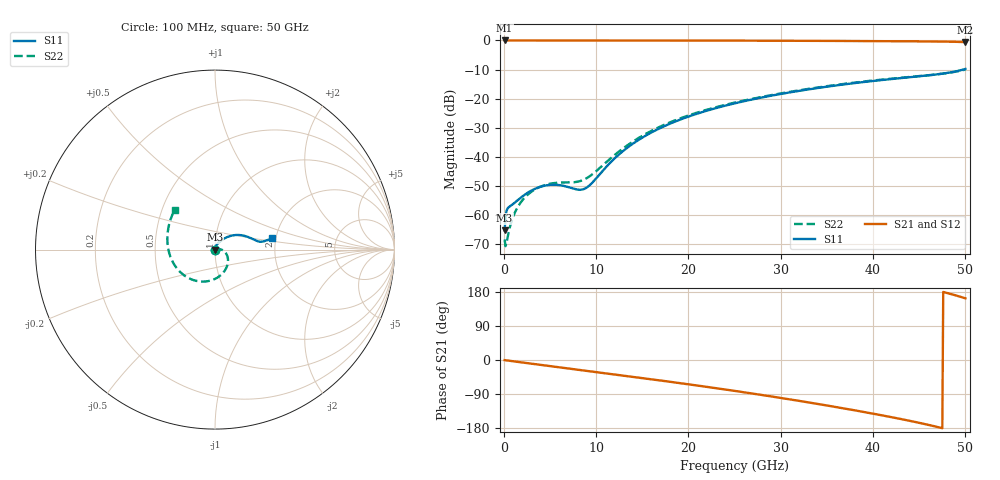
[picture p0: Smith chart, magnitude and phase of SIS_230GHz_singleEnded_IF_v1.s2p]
! Touchstone file from project
# GHZ S MA R 50.000000
! Modal data exported
! Port[1] = IF_output:1
! Port[2] = RF_input:1
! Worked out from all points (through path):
!   500 points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, 100 MHz to 50 GHz, reference 50 ohm
!   highest |S21| = 0.00 dB at 100 MHz (marker M1); lowest = -0.6 dB at 50 GHz (marker M2)
!   group delay of S21, straight-line fit = 10.4 ps
!   lowest |S11| = -65.4 dB at 100 MHz (marker M3), VSWR 1.00, Z = 50.1 - j0.00227 ohm
!   |S11| at or under -10 dB: start of sweep to 49.79 GHz
!   |S22| runs from -70.8 to -10.0 dB; largest |S21 - S12| = 0
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0.1  0.0005373 -2.4  0.9999 -0.3  0.9999 -0.3  0.000376 -177.4
! Gamma 5.665416E-003 5.282017E+000 0.000000E+000 0.000000E+000
! Port Impedance 5.000000E+001 0.000000E+000 5.000000E+001 0.000000E+000
0.3  0.001152 -63.3  0.9995 -1.0  0.9995 -1.0  0.000321 -136.6
0.5  0.001331 -65.6  0.9993 -1.6  0.9993 -1.6  0.0004688 -116.5
0.9  0.001484 -67.4  0.9991 -2.9  0.9991 -2.9  0.0008198 -103.4
1.4  0.00172 -73.2  0.9991 -4.5  0.9991 -4.5  0.001258 -97.8
2  0.002055 -80.8  0.9991 -6.5  0.9991 -6.5  0.001757 -94.5
2.8  0.002505 -89.8  0.9991 -9.1  0.9991 -9.1  0.002355 -91.7
3.9  0.003006 -100.9  0.9991 -12.6  0.9991 -12.6  0.003007 -88.2
5.2  0.003283 -114.2  0.9991 -16.8  0.9991 -16.8  0.003465 -82.5
8.5  0.002721 175.6  0.9989 -27.2  0.9989 -27.2  0.00391 -39.6
9.4  0.00332 142.8  0.9988 -30.0  0.9988 -30.0  0.00471 -21.9
11.5  0.007764 99.4  0.9986 -36.6  0.9986 -36.6  0.009121 2.2
13.1  0.01316 85.2  0.9984 -41.7  0.9984 -41.7  0.01454 7.2
16.8  0.03028 68.3  0.998 -53.5  0.998 -53.5  0.0321 2.1
20.5  0.05209 58.5  0.9969 -65.8  0.9969 -65.8  0.0544 -11.6
25.1  0.08337 49.3  0.9939 -81.8  0.9939 -81.8  0.08586 -33.6
29.3  0.1146 41.6  0.9899 -97.4  0.9899 -97.4  0.1172 -56.4
33.4  0.1471 33.7  0.9852 -113.5  0.9852 -113.5  0.1502 -80.4
37.5  0.1806 25.2  0.9793 -130.6  0.9793 -130.6  0.1844 -105.8
41.7  0.2145 16.5  0.9717 -149.4  0.9717 -149.4  0.2181 -134.5
46.4  0.255 9.9  0.9605 -173.4  0.9605 -173.4  0.2556 -175.4
50  0.3234 11.1  0.9377 162.7  0.9377 162.7  0.3163 135.2
